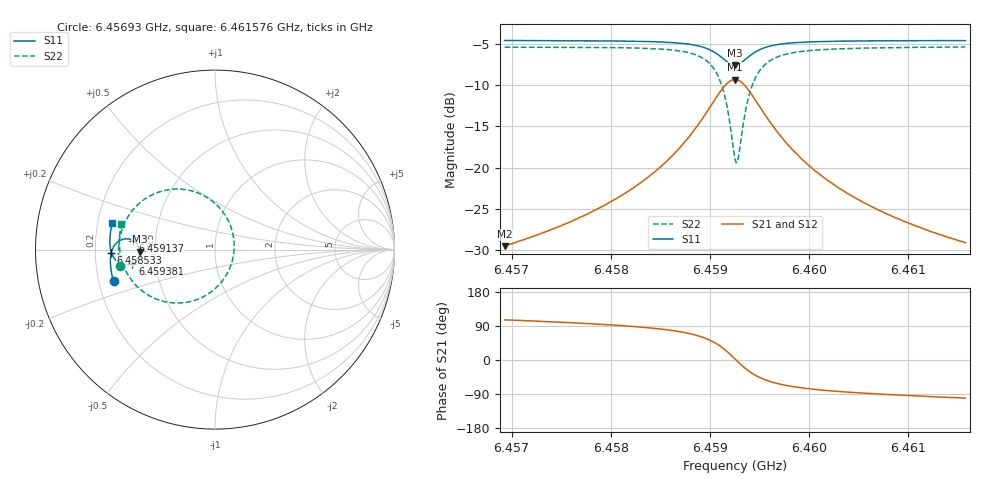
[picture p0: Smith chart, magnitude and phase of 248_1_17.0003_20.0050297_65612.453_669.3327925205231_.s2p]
#  HZ  S  RI  R  50.00
! Rohde & Schwarz Vector Network Analyzer
! Rohde-Schwarz,ZNB20-2Port,1311601062101988,3.16
! Created: UTC 3/20/2024, 11:03:09 PM
! freq[Hz]  re:S11  im:S11  re:S21  im:S21  re:S12  im:S12  re:S22  im:S22
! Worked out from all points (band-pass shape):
!   401 points, 6.45693 GHz to 6.461576 GHz, reference 50 ohm
!   highest |S21| = -9.30 dB at 6.459253 GHz (marker M1); lowest = -29.6 dB at 6.45693 GHz (marker M2)
!   |S21| within 3 dB of the highest: 6.459021 GHz to 6.459486 GHz (465 kHz wide, 0.0072 % of centre)
!   lowest |S11| = -7.5 dB at 6.459253 GHz (marker M3), VSWR 2.44, Z = 20.5 - j0.616 ohm
!   |S11| at or under -10 dB: nowhere
!   |S22| runs from -19.4 to -5.3 dB; largest |S21 - S12| = 0.013
!   S11 on the Smith chart (normalised r, x): 6.45693 GHz: 0.26, -0.14; 6.458533 GHz: 0.27, -0.01; 6.459137 GHz: 0.37, +0.05; 6.459381 GHz: 0.37, -0.07; 6.461576 GHz: 0.26, +0.12
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6.4569303e9  -0.5653 -0.1766  -0.00905 0.032  -0.0075 0.032  -0.5312 -0.0929
6.4577085e9  -0.5799 -0.1089  -0.00596 0.05  -0.0035 0.0495  -0.5379 -0.00222
6.4581383e9  -0.5832 -0.0659  -0.000256 0.0694  0.00299 0.0681  -0.5305 0.0654
6.4584867e9  -0.5796 -0.0245  0.0134 0.0981  0.0173 0.0954  -0.5059 0.1434
6.4585332e9  -0.5783 -0.0183  0.0167 0.1035  0.0208 0.1006  -0.4998 0.1565
6.4587422e9  -0.5663 0.0135  0.0425 0.1352  0.0467 0.1306  -0.4516 0.2283
6.4588932e9  -0.5453 0.04  0.0847 0.1656  0.0882 0.1591  -0.3735 0.2928
6.4590442e9  -0.4993 0.0599  0.176 0.1849  0.1772 0.1775  -0.2067 0.3375
6.4591371e9  -0.4551 0.0499  0.2655 0.1542  0.266 0.1485  -0.0409 0.2885
6.4591836e9  -0.4339 0.0313  0.3092 0.1118  0.3104 0.1067  0.0419 0.2129
6.4592533e9  -0.4191 -0.0124  0.3425 0.0157  0.3463 0.00885  0.107 0.0346
6.4592649e9  -0.4197 -0.0205  0.3425 -0.00186  0.3462 -0.00939  0.1069 0.00123
6.4592881e9  -0.4231 -0.036  0.3371 -0.0363  0.3409 -0.0453  0.0962 -0.064
6.4593346e9  -0.4384 -0.0618  0.3089 -0.0959  0.3112 -0.1076  0.0394 -0.1766
6.4593811e9  -0.4603 -0.078  0.2675 -0.1368  0.2667 -0.1499  -0.0447 -0.2514
6.459474e9  -0.5033 -0.0847  0.1836 -0.168  0.1774 -0.1794  -0.2117 -0.2976
6.459625e9  -0.5468 -0.0644  0.0962 -0.1547  0.0879 -0.1609  -0.3783 -0.2495
6.4597876e9  -0.5683 -0.0368  0.0518 -0.1274  0.0442 -0.1301  -0.4587 -0.1782
6.4600315e9  -0.581 -0.00127  0.0225 -0.0962  0.0168 -0.0969  -0.5067 -0.0964
6.4604148e9  -0.5857 0.0436  0.00553 -0.0678  0.00167 -0.0673  -0.5294 -0.0112
6.4608097e9  -0.5839 0.0829  -0.00116 -0.0515  -0.0041 -0.0506  -0.533 0.0506
6.4615763e9  -0.5716 0.1507  -0.00635 -0.0343  -0.00811 -0.0333  -0.522 0.1409
